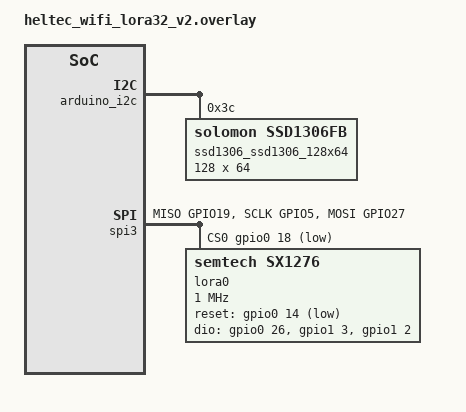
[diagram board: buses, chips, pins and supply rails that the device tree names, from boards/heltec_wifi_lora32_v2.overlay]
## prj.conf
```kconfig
CONFIG_LOG=y
CONFIG_SPI=y
CONFIG_GPIO=y
CONFIG_LORA=y
CONFIG_LORA_SX12XX=y
CONFIG_DISPLAY=y
CONFIG_CHARACTER_FRAMEBUFFER=y
CONFIG_PRINTK=y
```

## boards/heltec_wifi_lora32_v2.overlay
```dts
/*
 * Copyright (c) 2022 Gaël PORTAY
 *               2019 PHYTEC Messtechnik GmbH
 *
 * SPDX-License-Identifier: Apache-2.0
 */

/ {
	chosen {
		zephyr,display = &ssd1306_ssd1306_128x64;
	};

	aliases {
		lora0 = &lora0;
	};
};

&pinctrl {
	spim3_default: spim3_default {
		group1 {
			pinmux = <SPIM3_MISO_GPIO19>,
				 <SPIM3_SCLK_GPIO5>;
		};
		group2 {
			pinmux = <SPIM3_MOSI_GPIO27>;
			output-low;
		};
	};
};

&arduino_i2c {
	status = "okay";

	ssd1306_ssd1306_128x64: ssd1306@3c {
		compatible = "solomon,ssd1306fb";
		reg = <0x3c>;
		width = <128>;
		height = <64>;
		segment-offset = <0>;
		page-offset = <0>;
		display-offset = <0>;
		multiplex-ratio = <63>;
		segment-remap;
		com-invdir;
		prechargep = <0x22>;
	};
};

&spi3 {
	#address-cells = <1>;
	#size-cells = <0>;
	status = "okay";
	pinctrl-0 = <&spim3_default>;
	pinctrl-names = "default";
	cs-gpios = <&gpio0 18 GPIO_ACTIVE_LOW>;
	lora0: lora@0 {
		compatible = "semtech,sx1276";
		reg = <0>;
		reset-gpios = <&gpio0 14 GPIO_ACTIVE_LOW>;
		dio-gpios =
			/* SX1276 D0 -> GPIO26 */
			<&gpio0 26 (GPIO_PULL_DOWN | GPIO_ACTIVE_HIGH)>,
			/* SX1276 D1 -> GPIO35 */
			<&gpio1 3 (GPIO_PULL_DOWN | GPIO_ACTIVE_HIGH)>,
			/* SX1276 D1 -> GPIO34 */
			<&gpio1 2 (GPIO_PULL_DOWN | GPIO_ACTIVE_HIGH)>;
		spi-max-frequency = <1000000>;
		power-amplifier-output = "pa-boost";
	};
};
```

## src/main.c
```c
/*
 * Copyright (c) 2022 Gaël PORTAY
 *               2019 Manivannan Sadhasivam
 *               2018 PHYTEC Messtechnik GmbH
 *               2016 Open-RnD Sp. z o.o.
 *               2020 Nordic Semiconductor ASA
 *
 * SPDX-License-Identifier: Apache-2.0
 */

#include <zephyr/device.h>
#include <zephyr/drivers/gpio.h>
#include <zephyr/drivers/lora.h>
#include <zephyr/display/cfb.h>
#include <errno.h>
#include <zephyr/sys/util.h>
#include <zephyr/kernel.h>
#include <stdio.h>

#define SLEEP_TIME_MS	1

/*
 * Get button configuration from the devicetree sw0 alias. This is mandatory.
 */
#define SW0_NODE	DT_ALIAS(sw0)
#if !DT_NODE_HAS_STATUS(SW0_NODE, okay)
#error "Unsupported board: sw0 devicetree alias is not defined"
#endif
static const struct gpio_dt_spec button = GPIO_DT_SPEC_GET_OR(SW0_NODE, gpios,
							      {0});
static struct gpio_callback button_cb_data;

/*
 * The led0 devicetree alias is optional. If present, we'll use it
 * to turn on the LED whenever the button is pressed.
 */
static struct gpio_dt_spec led = GPIO_DT_SPEC_GET_OR(DT_ALIAS(led0), gpios,
						     {0});

void button_pressed(const struct device *dev, struct gpio_callback *cb,
		    uint32_t pins)
{
	printk("Button pressed at %" PRIu32 "\n", k_cycle_get_32());
}

#define DEFAULT_RADIO_NODE DT_ALIAS(lora0)
BUILD_ASSERT(DT_NODE_HAS_STATUS(DEFAULT_RADIO_NODE, okay),
	     "No default LoRa radio specified in DT");

#define MAX_DATA_LEN 10

#define LOG_LEVEL CONFIG_LOG_DEFAULT_LEVEL
#include <zephyr/logging/log.h>
LOG_MODULE_REGISTER(lora_send);

char data[MAX_DATA_LEN] = {'h', 'e', 'l', 'l', 'o', 'w', 'o', 'r', 'l', 'd'};

void main(void)
{
	const struct device *const lora_dev = DEVICE_DT_GET(DEFAULT_RADIO_NODE);
	const struct device *dev;
	struct lora_modem_config config;
	uint16_t rows;
	uint8_t ppt;
	uint8_t font_width;
	uint8_t font_height;
	int ret;

	if (!device_is_ready(button.port)) {
		printk("Error: button device %s is not ready\n",
		       button.port->name);
		return;
	}

	ret = gpio_pin_configure_dt(&button, GPIO_INPUT);
	if (ret != 0) {
		printk("Error %d: failed to configure %s pin %d\n",
		       ret, button.port->name, button.pin);
		return;
	}

	ret = gpio_pin_interrupt_configure_dt(&button,
					      GPIO_INT_EDGE_TO_ACTIVE);
	if (ret != 0) {
		printk("Error %d: failed to configure interrupt on %s pin %d\n",
			ret, button.port->name, button.pin);
		return;
	}

	gpio_init_callback(&button_cb_data, button_pressed, BIT(button.pin));
	gpio_add_callback(button.port, &button_cb_data);
	printk("Set up button at %s pin %d\n", button.port->name, button.pin);

	if (led.port && !device_is_ready(led.port)) {
		printk("Error %d: LED device %s is not ready; ignoring it\n",
		       ret, led.port->name);
		led.port = NULL;
	}
	if (led.port) {
		ret = gpio_pin_configure_dt(&led, GPIO_OUTPUT);
		if (ret != 0) {
			printk("Error %d: failed to configure LED device %s pin %d\n",
			       ret, led.port->name, led.pin);
			led.port = NULL;
		} else {
			printk("Set up LED at %s pin %d\n", led.port->name, led.pin);
		}
	}

	dev = DEVICE_DT_GET(DT_CHOSEN(zephyr_display));
	if (!device_is_ready(dev)) {
		printf("Device %s not ready\n", dev->name);
		return;
	}

	if (display_set_pixel_format(dev, PIXEL_FORMAT_MONO10) != 0) {
		printf("Failed to set required pixel format\n");
		return;
	}

	printf("Initialized %s\n", dev->name);

	if (cfb_framebuffer_init(dev)) {
		printf("Framebuffer initialization failed!\n");
		return;
	}

	cfb_framebuffer_clear(dev, true);

	cfb_framebuffer_invert(dev);

	cfb_framebuffer_finalize(dev);

	display_blanking_off(dev);

	rows = cfb_get_display_parameter(dev, CFB_DISPLAY_ROWS);
	ppt = cfb_get_display_parameter(dev, CFB_DISPLAY_PPT);

	for (int idx = 0; idx < 42; idx++) {
		if (cfb_get_font_size(dev, idx, &font_width, &font_height)) {
			break;
		}
		cfb_framebuffer_set_font(dev, idx);
		printf("font width %d, font height %d\n",
		       font_width, font_height);
	}

	printf("x_res %d, y_res %d, ppt %d, rows %d, cols %d\n",
	       cfb_get_display_parameter(dev, CFB_DISPLAY_WIDTH),
	       cfb_get_display_parameter(dev, CFB_DISPLAY_HEIGH),
	       ppt,
	       rows,
	       cfb_get_display_parameter(dev, CFB_DISPLAY_COLS));

	if (!device_is_ready(lora_dev)) {
		LOG_ERR("%s Device not ready", lora_dev->name);
		return;
	}

	config.frequency = 865100000;
	config.bandwidth = BW_125_KHZ;
	config.datarate = SF_10;
	config.preamble_len = 8;
	config.coding_rate = CR_4_5;
	config.iq_inverted = false;
	config.public_network = false;
	config.tx_power = 4;
	config.tx = true;

	ret = lora_config(lora_dev, &config);
	if (ret < 0) {
		LOG_ERR("LoRa config failed");
		return;
	}

	printk("Press the button\n");
	while (1) {
		if (led.port) {
			/* If we have an LED, match its state to the button's. */
			int val = gpio_pin_get_dt(&button);

			if (val >= 0) {
				gpio_pin_set_dt(&led, val);
			}

			if (val == 0) {
				k_msleep(SLEEP_TIME_MS);
				continue;
			}

		}

		ret = lora_send(lora_dev, data, MAX_DATA_LEN);
		if (ret < 0) {
			LOG_ERR("LoRa send failed");
			return;
		}

		LOG_INF("Data sent!");

		if (dev) {
			static int i = 0;
			char buf[10+1]; /* INT_MAX + NUL */

			cfb_framebuffer_clear(dev, false);
			if (cfb_print(dev, "TX:", 0, 0)) {
				LOG_ERR("Failed to print a string\n");
				continue;
			}

			sprintf(buf, "%d", ++i);
			if (cfb_print(dev, buf, 0, 1 * font_height)) {
				LOG_ERR("Failed to print a string\n");
				continue;
			}

			cfb_framebuffer_finalize(dev);
		}

		/* Send data at 1s interval */
		k_sleep(K_MSEC(1000));
	}
}
```
